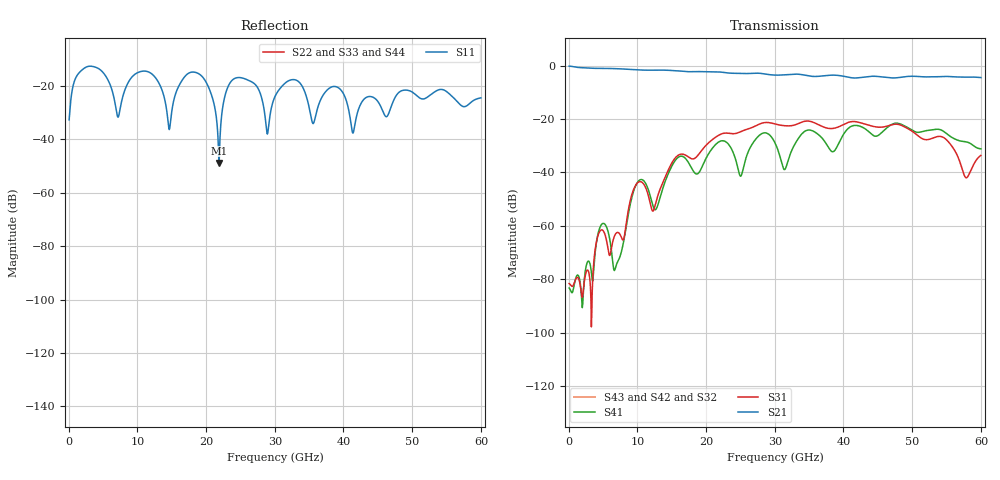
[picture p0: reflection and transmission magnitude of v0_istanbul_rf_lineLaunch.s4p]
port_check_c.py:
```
"""Run (c): which of touchstone ports 2/3/4 is which? History: 1 = A near pad, 2 = A far (z 9.05), 3 = B near pad, 4 = B far.
Check at the far end (last field point z = 9.05 = far port plane): V_B/V_A there should match S41/S21 (not S31/S21)."""
import os, sys
HERE = os.path.dirname(os.path.abspath(__file__)); sys.path.insert(0, os.path.join(HERE, "../istanbul_run_a"))
import numpy as np, skrf as rf
from load_fields import load
fd = load(base=HERE, a_zip="e-field (f=1) [1]_lineA.zip", drop="first", skip_f=(2.0, 15.0)); f = fd["f_GHz"]
n = rf.Network(os.path.join(HERE, "v0_istanbul_rf_lineLaunch.s4p")); fs = n.f / 1e9
S = lambda i: np.interp(f, fs, n.s[:, i, 0].real) + 1j * np.interp(f, fs, n.s[:, i, 0].imag)
V = lambda k, i: np.array([(fd["ports"][x][1][k][0][i] - fd["ports"][x][1][k][1][i]) / 2 for x in f])
Vf = V("B", -1) / V("A", -1)
cc = lambda x, y: abs(np.vdot(x, y)) / np.linalg.norm(x) / np.linalg.norm(y)
for lab, s in (("4 = B far", S(3) / S(1)), ("3 = B far", S(2) / S(1))):
    print(f"{lab}: complex correlation {cc(Vf, s):.3f}, median |field/S| {np.median(abs(Vf / s)):.2f}")
dB = lambda x: 20 * np.log10(abs(x))
for lab, s in (("4 = B far", S(3) / S(1)), ("3 = B far", S(2) / S(1))):
    print(f"{lab}: corr of dB magnitudes {np.corrcoef(dB(Vf), dB(s))[0,1]:.2f}, median dB offset {np.median(dB(Vf)-dB(s)):+.1f}")
for i in (-1, -2, -3):
    Vi = V("B", i) / V("A", i); print(f"field point {i}: corr dB with S41/S21 {np.corrcoef(dB(Vi), dB(S(3)/S(1)))[0,1]:.2f}, complex {cc(Vi, S(3)/S(1)):.2f}")
```
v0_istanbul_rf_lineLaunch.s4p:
! TOUCHSTONE file generated by CST MICROWAVE STUDIO
! Date and time: Fri Nov  6 09:24:55 2026
! Project name: v0_istanbul_rf_line+Launch.cst
! Parameters = {LN_THICKNESS=0.000275; SILICON_THICKNESS=0.55}
! Header version: 2024
! Port assignment regex: !\s*Touchstone port\s*([0-9]+)\s*=\s*(CST MWS port|CST DES external port|CST DES block port)\s*(.+)\s* \(\"(.*)\"\)(\s*mode\s*([0-9]+))?.*
! Touchstone port assignment:
! Touchstone port 1 = CST MWS port 1 ("")
! Touchstone port 2 = CST MWS port 2 ("")
! Touchstone port 3 = CST MWS port 3 ("")
! Touchstone port 4 = CST MWS port 4 ("")
# GHz S MA R 50
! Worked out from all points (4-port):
!   1000 points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, 60 MHz to 60 GHz, reference 50 ohm
!   strongest paths, dB at 60 MHz, 15.06 GHz, 30.06 GHz, 45.06 GHz, 60 GHz:
!     S21: -0.2, -1.8, -3.5, -4.1, -4.5
!     S31: -81.6, -36.2, -21.8, -23.0, -33.6
!     S41: -83.3, -37.4, -29.1, -26.1, -31.1
!     S43: -, -, -, -, -
!     S42: -, -, -, -, -
!     S32: -, -, -, -, -
!   lowest |S11| = -48.9 dB at 21.9 GHz (marker M1), VSWR 1.01, Z = 50.4 - j0.0262 ohm
!   |S11| at or under -10 dB: start of sweep to end of sweep
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0.06  0.02318 22.9  0 0.0  0 0.0  0 0.0
      0.9788 -1.8  0 0.0  0 0.0  0 0.0
      8.324e-05 -13.0  0 0.0  0 0.0  0 0.0
      6.878e-05 -13.1  0 0.0  0 0.0  0 0.0
21.9  0.003596 -4.1  0 0.0  0 0.0  0 0.0
      0.7623 164.4  0 0.0  0 0.0  0 0.0
      0.05037 13.4  0 0.0  0 0.0  0 0.0
      0.03768 -70.9  0 0.0  0 0.0  0 0.0
60  0.05962 61.5  0 0.0  0 0.0  0 0.0
    0.5989 -63.0  0 0.0  0 0.0  0 0.0
    0.0209 -136.5  0 0.0  0 0.0  0 0.0
    0.02773 -162.2  0 0.0  0 0.0  0 0.0
